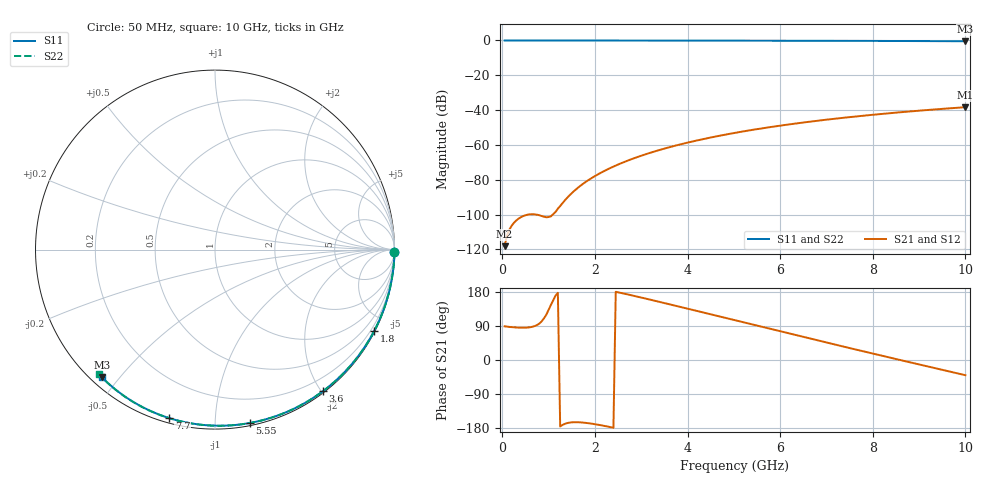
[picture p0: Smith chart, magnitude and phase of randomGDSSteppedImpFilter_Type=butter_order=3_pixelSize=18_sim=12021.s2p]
! freq	dB(S11)	phase(S11)	dB(S12)	phase(S12)
!  dB(S21)	phase(S21)	dB(S22)	phase(S22)
!S-par simulation data
#  GHz  S  DB  R 50
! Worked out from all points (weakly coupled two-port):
!   200 points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, 50 MHz to 10 GHz, reference 50 ohm
!   highest |S21| = -38.35 dB at 10 GHz (marker M1); lowest = -118.2 dB at 50 MHz (marker M2)
!   lowest |S11| = -0.4 dB at 10 GHz (marker M3), VSWR 39.05, Z = 1.54 - j22.5 ohm
!   |S11| at or under -10 dB: nowhere
!   |S22| runs from -0.4 to 0.0 dB; largest |S21 - S12| = 0
!   S11 on the Smith chart (normalised r, x): 50 MHz: open; 1.8 GHz: 0.04, -4.17; 3.6 GHz: 0.02, -2.02; 5.55 GHz: 0.02, -1.22; 7.7 GHz: 0.02, -0.77; 10 GHz: 0.03, -0.45
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0.05  -0.00 -0.8  -118.19 89.0  -118.19 89.0  -0.00 -0.8
0.45  -0.01 -6.8  -100.91 85.2  -100.91 85.2  -0.01 -6.9
0.9  -0.02 -13.6  -101.27 110.0  -101.27 110.0  -0.02 -13.8
1.75  -0.03 -26.2  -82.23 -165.2  -82.23 -165.2  -0.03 -26.6
1.8  -0.03 -27.0  -81.29 -165.8  -81.29 -165.8  -0.03 -27.3
1.85  -0.04 -27.7  -80.39 -166.6  -80.39 -166.6  -0.04 -28.0
1.9  -0.04 -28.4  -79.53 -167.4  -79.53 -167.4  -0.04 -28.8
2.05  -0.04 -30.6  -77.15 -170.4  -77.15 -170.4  -0.04 -31.0
2.25  -0.04 -33.5  -74.34 -175.0  -74.34 -175.0  -0.04 -33.9
2.65  -0.05 -39.3  -69.63 174.6  -69.63 174.6  -0.05 -39.8
3  -0.06 -44.3  -66.22 164.8  -66.22 164.8  -0.06 -44.8
3.4  -0.07 -49.9  -62.89 153.2  -62.89 153.2  -0.07 -50.5
3.6  -0.07 -52.7  -61.40 147.3  -61.40 147.3  -0.07 -53.4
4.3  -0.09 -62.3  -56.89 126.5  -56.89 126.5  -0.09 -63.0
5.05  -0.11 -72.3  -52.97 104.0  -52.97 104.0  -0.11 -73.1
5.55  -0.13 -78.7  -50.74 89.0  -50.74 89.0  -0.13 -79.7
6.1  -0.15 -85.7  -48.57 72.7  -48.57 72.7  -0.15 -86.7
6.7  -0.18 -93.1  -46.47 54.9  -46.47 54.9  -0.18 -94.2
7.7  -0.24 -105.1  -43.49 25.7  -43.49 25.7  -0.24 -106.3
8.35  -0.29 -112.7  -41.83 6.9  -41.83 6.9  -0.29 -114.0
9.15  -0.36 -121.9  -40.02 -16.0  -40.02 -16.0  -0.36 -123.3
10  -0.44 -131.5  -38.35 -40.1  -38.35 -40.1  -0.45 -133.0
